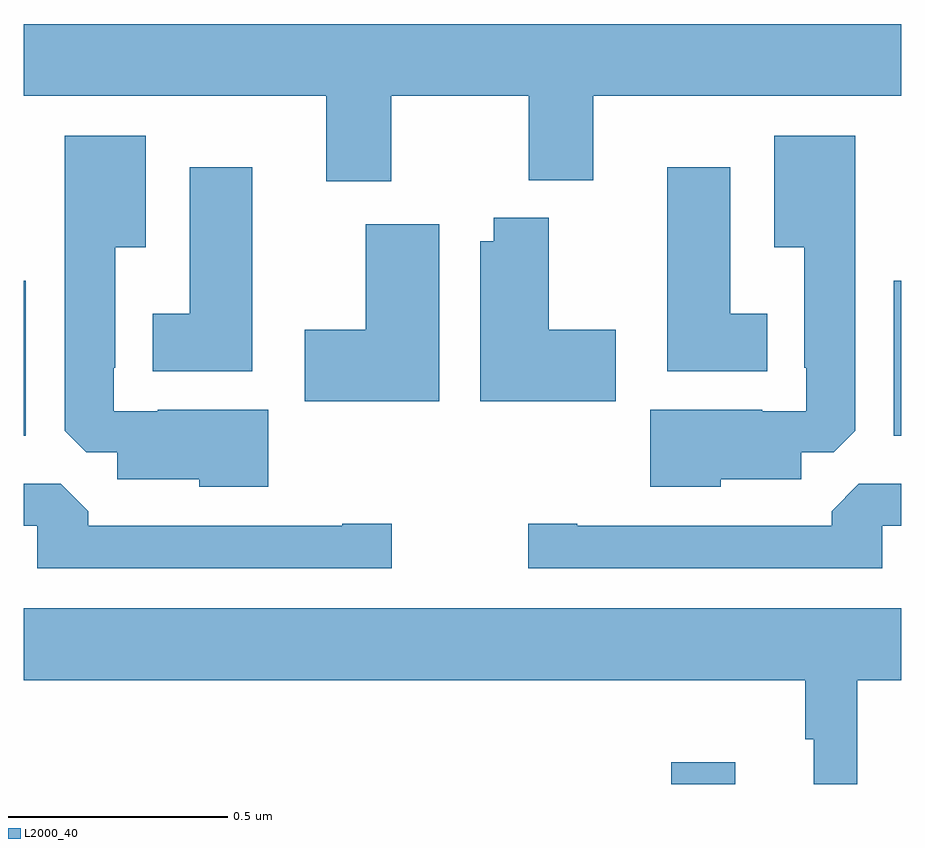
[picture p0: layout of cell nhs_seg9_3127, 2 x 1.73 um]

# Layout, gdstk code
import gdstk
lib = gdstk.Library(unit=1e-6, precision=1e-09)
def R(c, l, rs):  # rectangles x0, y0, x1, y1
    for r in rs: c.add(gdstk.rectangle(r[:2], r[2:], *l))
def P(c, l, *ps):  # polygons
    for p in ps: c.add(gdstk.Polygon(p, *l))
L2000_40 = (2000, 40)

nhs_seg9_3127 = lib.new_cell('nhs_seg9_3127')
R(nhs_seg9_3127, L2000_40, [(150.476,1213.5,150.622,1213.549), (149,1214.294,149.005,1214.647), (150.983,1214.294,151,1214.647)])
P(nhs_seg9_3127, L2000_40, [(149.838,1215.068),(150.151,1215.068),(150.151,1214.876),(150.298,1214.876),(150.298,1215.068),(151,1215.068),(151,1215.232),(149,1215.232),(149,1215.068),(149.69,1215.068),(149.69,1214.874),(149.838,1214.874)],
  [(149.557,1214.353),(149.305,1214.353),(149.305,1214.349),(149.205,1214.349),(149.205,1214.449),(149.209,1214.449),(149.209,1214.723),(149.278,1214.723),(149.278,1214.977),(149.093,1214.977),(149.093,1214.305),(149.142,1214.256),(149.213,1214.256),(149.213,1214.195),(149.4,1214.195),(149.4,1214.177),(149.557,1214.177)],
  [(150.588,1214.195),(150.772,1214.195),(150.772,1214.256),(150.846,1214.256),(150.895,1214.305),(150.895,1214.977),(150.71,1214.977),(150.71,1214.723),(150.779,1214.723),(150.779,1214.449),(150.783,1214.449),(150.783,1214.349),(150.683,1214.349),(150.683,1214.353),(150.428,1214.353),(150.428,1214.177),(150.588,1214.177)],
  [(149.521,1214.905),(149.378,1214.905),(149.378,1214.572),(149.294,1214.572),(149.294,1214.441),(149.521,1214.441)],
  [(150.694,1214.572),(150.61,1214.572),(150.61,1214.905),(150.467,1214.905),(150.467,1214.441),(150.694,1214.441)],
  [(150.349,1214.535),(150.196,1214.535),(150.196,1214.791),(150.071,1214.791),(150.071,1214.737),(150.041,1214.737),(150.041,1214.372),(150.349,1214.372)],
  [(149.947,1214.776),(149.78,1214.776),(149.78,1214.535),(149.64,1214.535),(149.64,1214.372),(149.947,1214.372)],
  [(149.839,1214.093),(149.726,1214.093),(149.726,1214.088),(149.147,1214.088),(149.147,1214.122),(149.085,1214.184),(149,1214.184),(149,1214.088),(149.031,1214.088),(149.031,1213.992),(149.839,1213.992)],
  [(150.957,1214.088),(151,1214.088),(151,1214.184),(150.903,1214.184),(150.842,1214.122),(150.842,1214.088),(150.262,1214.088),(150.262,1214.093),(150.15,1214.093),(150.15,1213.992),(150.957,1213.992)],
  [(150.9,1213.736),(151,1213.736),(151,1213.9),(149,1213.9),(149,1213.736),(150.781,1213.736),(150.781,1213.602),(150.8,1213.602),(150.8,1213.5),(150.9,1213.5)])

lib.write_gds('nhs_seg9_3127.gds')
